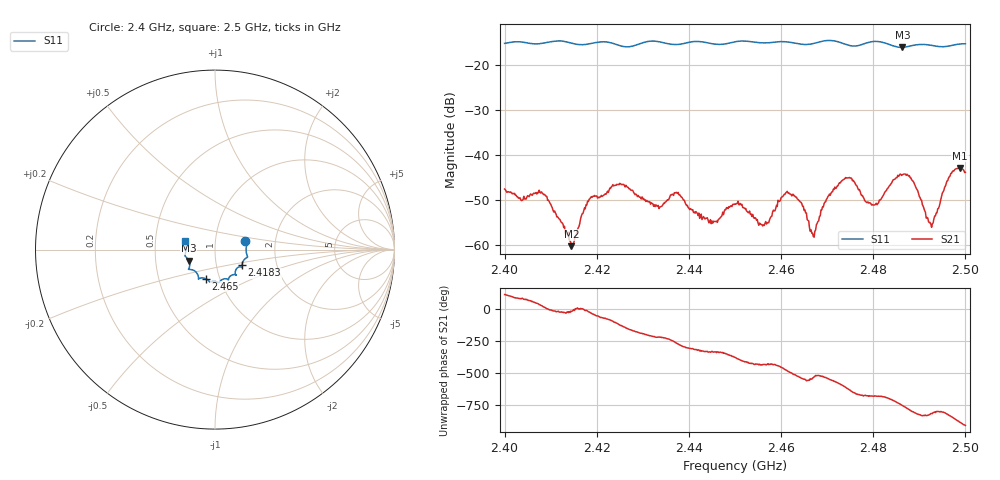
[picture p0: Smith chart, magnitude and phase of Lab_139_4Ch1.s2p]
# Hz S RI R
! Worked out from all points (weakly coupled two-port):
!   601 points, 2.4 GHz to 2.5 GHz, reference 50 ohm
!   highest |S21| = -42.89 dB at 2.4988 GHz (marker M1); lowest = -60.3 dB at 2.4145 GHz (marker M2)
!   lowest |S11| = -16.0 dB at 2.4863 GHz (marker M3), VSWR 1.38, Z = 37 - j4.68 ohm
!   |S11| at or under -10 dB: start of sweep to end of sweep
!   S12 and S22 are empty: the file has one direction only
!   S11 on the Smith chart (normalised r, x): 2.4 GHz: 1.40, +0.13; 2.4183 GHz: 1.33, -0.24; 2.465 GHz: 0.86, -0.29; 2.5 GHz: 0.71, +0.07
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2.4e9  0.1692 0.0459  -0.00168 0.00383  0 0  0 0
2.4085e9  0.1755 -0.0217  0.00346 0.00109  0 0  0 0
2.4145e9  0.1694 -0.0497  0.000915 -0.000316  0 0  0 0
2.416667e9  0.1549 -0.0684  0.0021 9.13e-05  0 0  0 0
2.418333e9  0.1497 -0.0869  0.00298 -0.0012  0 0  0 0
2.425333e9  0.1312 -0.0975  -0.00286 -0.00374  0 0  0 0
2.433333e9  0.1168 -0.1413  -0.00218 0.00167  0 0  0 0
2.437333e9  0.0869 -0.1461  -0.000268 0.00383  0 0  0 0
2.445333e9  0.0591 -0.1621  0.00166 0.000781  0 0  0 0
2.45e9  0.0253 -0.1808  0.00276 -0.000759  0 0  0 0
2.455667e9  0.00187 -0.1776  0.000511 -0.00162  0 0  0 0
2.461167e9  -0.0304 -0.1798  -0.00167 -0.00348  0 0  0 0
2.465e9  -0.0527 -0.1621  -0.0024 0.000252  0 0  0 0
2.466667e9  -0.0711 -0.1578  -0.00134 0.000111  0 0  0 0
2.473667e9  -0.0941 -0.1454  -0.00262 0.00469  0 0  0 0
2.48e9  -0.147 -0.1106  0.00206 0.00187  0 0  0 0
2.483333e9  -0.142 -0.096  0.00401 0.00185  0 0  0 0
2.486333e9  -0.1456 -0.0616  0.00523 -0.00301  0 0  0 0
2.4925e9  -0.1653 -0.0237  -9.15e-05 -0.0017  0 0  0 0
2.4965e9  -0.1623 0.0222  -0.00181 -0.00545  0 0  0 0
2.498833e9  -0.1678 0.0412  -0.00677 -0.00237  0 0  0 0
2.5e9  -0.1669 0.0471  -0.00639 0.00065  0 0  0 0
